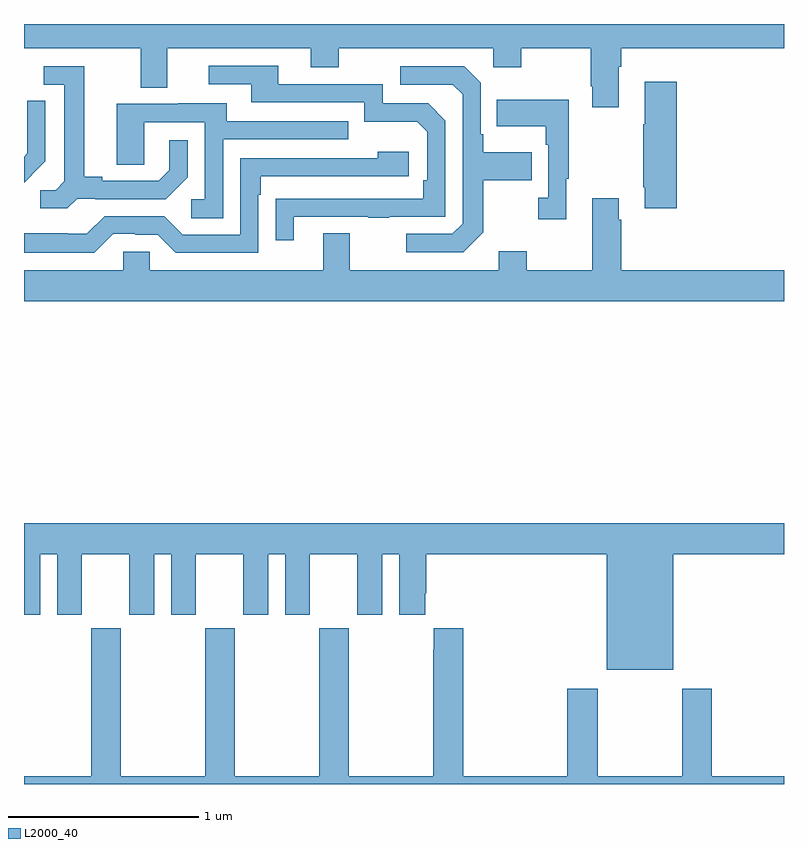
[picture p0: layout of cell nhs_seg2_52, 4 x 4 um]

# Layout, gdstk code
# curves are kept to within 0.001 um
import gdstk
lib = gdstk.Library(unit=1e-6, precision=1e-09)
def P(c, l, *ps):  # polygons
    for p in ps: c.add(gdstk.Polygon(p, *l))
L2000_40 = (2000, 40)

nhs_seg2_52 = lib.new_cell('nhs_seg2_52')
P(nhs_seg2_52, L2000_40, [(116.131,611.576),(116.144,611.576),(116.144,611.672),(117,611.672),(117,611.8),(113,611.8),(113,611.672),(113.615,611.672),(113.615,611.464),(113.755,611.464),(113.755,611.672),(114.509,611.672),(114.509,611.573),(114.657,611.573),(114.657,611.672),(115.47,611.672),(115.47,611.573),(115.617,611.573),(115.617,611.672),(115.984,611.672),(115.984,611.473),(115.991,611.473),(115.991,611.361),(116.131,611.361)],
  [(114.421,610.785),(114.811,610.785),(114.811,610.78),(114.923,610.78),(114.923,610.785),(115.218,610.785),(115.218,611.292),(115.128,611.382),(114.888,611.382),(114.888,611.484),(114.337,611.484),(114.337,611.58),(113.973,611.58),(113.973,611.484),(114.197,611.484),(114.197,611.388),(114.792,611.388),(114.792,611.285),(115.069,611.285),(115.122,611.232),(115.122,610.978),(115.102,610.978),(115.102,610.881),(114.325,610.88),(114.325,610.662),(114.421,610.662)],
  [(113.28,610.881),(113.374,610.881),(113.374,610.878),(113.746,610.878),(113.862,610.994),(113.862,611.188),(113.765,611.188),(113.765,611.031),(113.708,610.974),(113.413,610.974),(113.413,610.997),(113.317,610.997),(113.317,611.577),(113.103,611.577),(113.103,611.481),(113.213,611.481),(113.213,610.973),(113.166,610.926),(113.085,610.926),(113.085,610.829),(113.228,610.829)],
  [(115.417,610.705),(115.417,610.978),(115.673,610.978),(115.673,611.125),(115.417,611.125),(115.417,611.221),(115.404,611.221),(115.404,611.49),(115.317,611.577),(114.981,611.577),(114.981,611.481),(115.257,611.481),(115.308,611.43),(115.308,610.749),(115.254,610.695),(115.011,610.695),(115.011,610.599),(115.311,610.599)],
  [(116.435,611.497),(116.267,611.497),(116.267,611.273),(116.26,611.273),(116.26,610.942),(116.267,610.942),(116.267,610.83),(116.435,610.83)],
  [(115.855,610.985),(115.867,610.985),(115.867,611.401),(115.489,611.401),(115.489,611.261),(115.746,611.261),(115.746,611.165),(115.758,611.165),(115.758,610.886),(115.707,610.886),(115.707,610.773),(115.855,610.773)],
  [(113.04,611.004),(113.039,611.005),(113.112,611.078),(113.112,611.396),(113.016,611.396),(113.016,611.242),(113.018,611.242),(113.018,611.12),(113,611.102),(113,610.964)],
  [(114.048,611.193),(114.707,611.193),(114.707,611.289),(114.067,611.289),(114.067,611.383),(113.813,611.383),(113.813,611.379),(113.489,611.379),(113.489,611.059),(113.634,611.059),(113.634,611.283),(113.952,611.283),(113.952,610.878),(113.88,610.878),(113.88,610.777),(114.048,610.777)],
  [(113.469,610.695),(113.585,610.695),(113.585,610.692),(113.703,610.692),(113.799,610.596),(114.234,610.596),(114.234,610.901),(114.247,610.901),(114.247,610.998),(115.024,610.998),(115.024,611.128),(114.863,611.128),(114.863,611.094),(114.138,611.094),(114.138,610.692),(113.835,610.692),(113.739,610.788),(113.424,610.788),(113.331,610.695),(113.231,610.695),(113.231,610.699),(113,610.699),(113,610.595),(113.369,610.595)],
  [(117,610.504),(116.144,610.504),(116.144,610.769),(116.131,610.769),(116.131,610.882),(115.991,610.882),(115.991,610.504),(115.647,610.504),(115.647,610.603),(115.499,610.603),(115.499,610.504),(114.715,610.504),(114.715,610.699),(114.575,610.699),(114.575,610.504),(113.661,610.504),(113.661,610.602),(113.523,610.602),(113.523,610.504),(113,610.504),(113,610.34),(117,610.34)],
  [(116.416,609.008),(117,609.008),(117,609.172),(113,609.172),(113,608.691),(113.086,608.691),(113.086,609.008),(113.174,609.008),(113.174,608.691),(113.305,608.691),(113.305,609.008),(113.555,609.008),(113.555,608.691),(113.686,608.691),(113.686,609.008),(113.774,609.008),(113.774,608.691),(113.905,608.691),(113.905,609.008),(114.155,609.008),(114.155,608.691),(114.286,608.691),(114.286,609.008),(114.374,609.008),(114.374,608.691),(114.505,608.691),(114.505,609.008),(114.755,609.008),(114.755,608.691),(114.886,608.691),(114.886,609.008),(114.974,609.008),(114.974,608.691),(115.111,608.691),(115.111,608.803),(115.118,608.803),(115.118,609.008),(116.066,609.008),(116.066,608.402),(116.416,608.402)],
  [(117,607.84),(116.619,607.84),(116.619,608.302),(116.464,608.302),(116.464,607.84),(116.019,607.84),(116.019,608.302),(115.859,608.302),(115.859,607.84),(115.313,607.84),(115.313,608.62),(115.157,608.62),(115.157,608.507),(115.153,608.507),(115.153,607.84),(114.708,607.84),(114.708,608.62),(114.553,608.62),(114.553,607.84),(114.108,607.84),(114.108,608.62),(113.953,608.62),(113.953,607.84),(113.508,607.84),(113.508,608.62),(113.353,608.62),(113.353,607.84),(113,607.84),(113,607.8),(117,607.8)])

lib.write_gds('nhs_seg2_52.gds')
